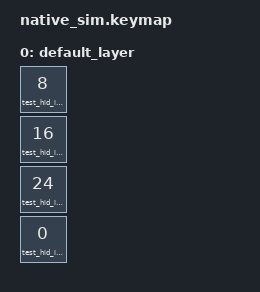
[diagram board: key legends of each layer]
#include <dt-bindings/zmk/keys.h>
#include <dt-bindings/zmk/kscan_mock.h>
#include <dt-bindings/zmk/led_matrix.h>
#include <dt-bindings/zmk/led_matrix_colors.h>
#include <dt-bindings/led/led.h>
#include <behaviors.dtsi>

/ {
    chosen {
        zmk,kscan = &kscan;
        zmk,led-matrix = &led_matrix;
    };

    behaviors {
        test_hid_indicators: test_hid_indicators {
            compatible = "zmk,behavior-raise-hid-indicators";
            #binding-cells = <1>;
        };
    };

    kscan: native_posix_64_kscan_mock {
        compatible = "zmk,kscan-mock";
        rows = <1>;
        columns = <4>;
        exit-after;
        events = <
            ZMK_MOCK_PRESS(0,0,10)
            ZMK_MOCK_RELEASE(0,0,20)
            ZMK_MOCK_PRESS(0,1,120)
            ZMK_MOCK_RELEASE(0,1,20)
            ZMK_MOCK_PRESS(0,2,120)
            ZMK_MOCK_RELEASE(0,2,20)
            ZMK_MOCK_PRESS(0,3,120)
            ZMK_MOCK_RELEASE(0,3,20)
        >;
    };

    keymap {
        compatible = "zmk,keymap";

        default_layer {
            bindings = <
                &test_hid_indicators 8
                &test_hid_indicators 16
                &test_hid_indicators 24
                &test_hid_indicators 0
            >;
        };
    };

    led_matrix_dev: led_matrix_dev {
        compatible = "zmk,led-mock";
        mode = "color";

        led_0 { index = <0>; color-mapping = <LED_COLOR_ID_RED LED_COLOR_ID_GREEN LED_COLOR_ID_BLUE>; };
        led_1 { index = <1>; color-mapping = <LED_COLOR_ID_RED LED_COLOR_ID_GREEN LED_COLOR_ID_BLUE>; };
    };

    led_matrix: led_matrix {
        compatible = "zmk,led-matrix";
        led-driver = "matrix";
        led-device = <&led_matrix_dev>;
        led-count = <2>;
        status-timeout-ms = <1000>;
        hid-timeout-ms = <1000>;
        hid-compose-leds = <0>;
        hid-compose-color-on = <0xFF0000>;
        hid-compose-color-off = <LM_BLACK>;
        hid-kana-leds = <1>;
        hid-kana-color-on = <0x0000FF>;
        hid-kana-color-off = <LM_BLACK>;
        matrix-led-grid = <
            0 1 LM_NOLED LM_NOLED
        >;

        profile0 {
            profile-id = <0>;
            display-name = "Off";
            renderer = "solid";
            colors = <LM_BLACK>;
            brightness = <100>;
            period-ms = <1000>;
        };
    };
};
